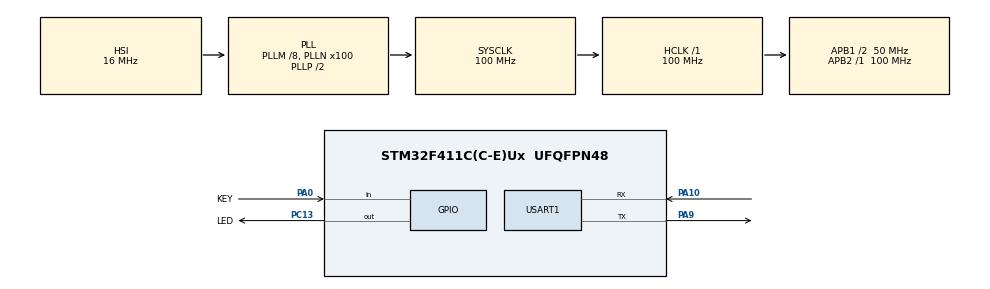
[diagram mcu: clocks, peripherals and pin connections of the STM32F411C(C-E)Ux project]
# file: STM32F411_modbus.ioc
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Dma.Request0=USART1_RX
Dma.Request1=USART1_TX
Dma.USART1_RX.0.Direction=DMA_PERIPH_TO_MEMORY
Dma.USART1_RX.0.FIFOMode=DMA_FIFOMODE_DISABLE
Dma.USART1_RX.0.Instance=DMA2_Stream2
Dma.USART1_RX.0.MemDataAlignment=DMA_MDATAALIGN_BYTE
Dma.USART1_RX.0.MemInc=DMA_MINC_ENABLE
Dma.USART1_RX.0.Mode=DMA_CIRCULAR
Dma.USART1_RX.0.PeriphDataAlignment=DMA_PDATAALIGN_BYTE
Dma.USART1_RX.0.PeriphInc=DMA_PINC_DISABLE
Dma.USART1_RX.0.Priority=DMA_PRIORITY_LOW
Dma.USART1_TX.1.Direction=DMA_MEMORY_TO_PERIPH
Dma.USART1_TX.1.FIFOMode=DMA_FIFOMODE_DISABLE
Dma.USART1_TX.1.Instance=DMA2_Stream7
Dma.USART1_TX.1.MemDataAlignment=DMA_MDATAALIGN_BYTE
Dma.USART1_TX.1.MemInc=DMA_MINC_ENABLE
Dma.USART1_TX.1.Mode=DMA_NORMAL
Dma.USART1_TX.1.PeriphDataAlignment=DMA_PDATAALIGN_BYTE
Dma.USART1_TX.1.PeriphInc=DMA_PINC_DISABLE
Dma.USART1_TX.1.Priority=DMA_PRIORITY_LOW
Mcu.Family=STM32F4
Mcu.Name=STM32F411C(C-E)Ux
Mcu.Package=UFQFPN48
NVIC.DMA2_Stream2_IRQn=true\:0\:0\:false\:false\:true\:false\:true\:true
NVIC.DMA2_Stream7_IRQn=true\:0\:0\:false\:false\:true\:false\:true\:true
NVIC.PriorityGroup=NVIC_PRIORITYGROUP_4
NVIC.USART1_IRQn=true\:0\:0\:false\:false\:true\:false\:true\:true
PA0-WKUP.GPIO_Label=KEY
PA0-WKUP.GPIO_PuPd=GPIO_PULLUP
PA0-WKUP.Signal=GPIO_Input
PA10.Mode=Asynchronous
PA10.Signal=USART1_RX
PA13.Mode=Serial_Wire
PA13.Signal=SYS_JTMS-SWDIO
PA14.Mode=Serial_Wire
PA14.Signal=SYS_JTCK-SWCLK
PA9.Mode=Asynchronous
PA9.Signal=USART1_TX
PC13-ANTI_TAMP.GPIO_Label=LED
PC13-ANTI_TAMP.PinState=GPIO_PIN_SET
PC13-ANTI_TAMP.Signal=GPIO_Output
PH0\ -\ OSC_IN.Mode=HSE-External-Oscillator
PH0\ -\ OSC_IN.Signal=RCC_OSC_IN
PH1\ -\ OSC_OUT.Mode=HSE-External-Oscillator
PH1\ -\ OSC_OUT.Signal=RCC_OSC_OUT
ProjectManager.HeapSize=0x200
ProjectManager.StackSize=0x400
ProjectManager.TargetToolchain=CMake
RCC.48MHZClocksFreq_Value=50000000
RCC.AHBFreq_Value=100000000
RCC.APB1CLKDivider=RCC_HCLK_DIV2
RCC.APB1Freq_Value=50000000
RCC.APB1TimFreq_Value=100000000
RCC.APB2Freq_Value=100000000
RCC.APB2TimFreq_Value=100000000
RCC.CortexFreq_Value=100000000
RCC.HCLKFreq_Value=100000000
RCC.HSE_VALUE=25000000
RCC.HSI_VALUE=16000000
RCC.LSE_VALUE=32768
RCC.PLLM=8
RCC.PLLN=100
RCC.SYSCLKFreq_VALUE=100000000
RCC.SYSCLKSource=RCC_SYSCLKSOURCE_PLLCLK
RCC.VCOOutputFreq_Value=200000000
USART1.VirtualMode=VM_ASYNC
board=custom

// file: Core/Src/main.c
/* USER CODE BEGIN Header */
/**
  ******************************************************************************
  * @file           : main.c
  * @brief          : Main program body
  ******************************************************************************
  * @attention
  *
  * Copyright (c) 2026 STMicroelectronics.
  * All rights reserved.
  *
  * This software is licensed under terms that can be found in the LICENSE file
  * in the root directory of this software component.
  * If no LICENSE file comes with this software, it is provided AS-IS.
  *
  ******************************************************************************
  */
/* USER CODE END Header */
#include "main.h"
#include "dma.h"
#include "usart.h"
#include "gpio.h"

/* USER CODE BEGIN Includes */
#include "uart_dma.h"
#include "modbus_slave.h"
#include "board.h"
#include "string.h"
/* USER CODE END Includes */

/* USER CODE BEGIN PV */
/* 主循环侧的帧缓冲：ISR 收到一整帧后 memcpy 到这里，主循环慢慢解析 */
static uint8_t rx_frame[UD_FRAME_MAX];
/* USER CODE END PV */

void SystemClock_Config(void);

int main(void)
{

  /* MCU Configuration--------------------------------------------------------*/

  /* Reset of all peripherals, Initializes the Flash interface and the Systick. */
  HAL_Init();

  /* Configure the system clock */
  SystemClock_Config();

  /* Initialize all configured peripherals */
  MX_GPIO_Init();
  MX_DMA_Init();
  MX_USART1_UART_Init();
  /* USER CODE BEGIN 2 */
  /* ── 业务初始化（CubeMX 之外的手写层）──────────────────────────────
   * 顺序有讲究：
   *  1) board_init 先起时基与心跳口 —— 后面任何一步挂了，心跳仍在跑，
   *     面板上能看到"板子活着但没起来"，而不是一片静默；
   *  2) 开机横幅走 USART1（此刻还没开 DMA 接收，阻塞发送不会抢帧）；
   *  3) ud_init 把 DMA 切成 CIRCULAR、启动 HT/TC 中断并开 IDLE；
   *  4) 最后才初始化寄存器表 —— 它的诊断字段直接读 ud_stats()。
   */
  board_init();
  {
    static const char banner[] =
        "[boot] STM32F411 Modbus RTU slave unit=1 115200 8N1 "
        "rx=DMA2_S2/circ+ht-tc tx=DMA2_S7/pingpong\r\n";
    (void)HAL_UART_Transmit(&huart1, (uint8_t *)banner,
                            (uint16_t)(sizeof(banner) - 1u), 100);
  }
  if (ud_init() != 0) {
    Error_Handler();
  }
  mb_slave_init();
  /* USER CODE END 2 */

  /* Infinite loop */
  /* USER CODE BEGIN WHILE */
  while (1)
  {
    /* 主循环只做三件事：判静默 → 取帧 → 处理；其余全在 ISR/DMA 里。
     * ★ 没有 HAL_Delay：帧到了就处理，没帧就转一圈走人。 */
    uint16_t n;
    ud_poll();                       /* 静默够久 → 收帧（非阻塞） */
    n = ud_frame_get(rx_frame, (uint16_t)sizeof(rx_frame));
    if (n > 0u) {
      mb_slave_handle(rx_frame, n);
    }
    mb_slave_poll();                 /* 连发状态机（TX 双缓冲演示，通常空转） */
    board_poll();
    /* USER CODE END WHILE */

  }
}

void SystemClock_Config(void)
{
  RCC_OscInitTypeDef RCC_OscInitStruct = {0};
  RCC_ClkInitTypeDef RCC_ClkInitStruct = {0};

  /** Configure the main internal regulator output voltage
  */
  __HAL_RCC_PWR_CLK_ENABLE();
  __HAL_PWR_VOLTAGESCALING_CONFIG(PWR_REGULATOR_VOLTAGE_SCALE1);

  /** Initializes the RCC Oscillators according to the specified parameters
  * in the RCC_OscInitTypeDef structure.
  */
  RCC_OscInitStruct.OscillatorType = RCC_OSCILLATORTYPE_HSI;
  RCC_OscInitStruct.HSIState = RCC_HSI_ON;
  RCC_OscInitStruct.HSICalibrationValue = RCC_HSICALIBRATION_DEFAULT;
  RCC_OscInitStruct.PLL.PLLState = RCC_PLL_ON;
  RCC_OscInitStruct.PLL.PLLSource = RCC_PLLSOURCE_HSI;
  RCC_OscInitStruct.PLL.PLLM = 8;
  RCC_OscInitStruct.PLL.PLLN = 100;
  RCC_OscInitStruct.PLL.PLLP = RCC_PLLP_DIV2;
  RCC_OscInitStruct.PLL.PLLQ = 4;
  if (HAL_RCC_OscConfig(&RCC_OscInitStruct) != HAL_OK)
  {
    Error_Handler();
  }

  /** Initializes the CPU, AHB and APB buses clocks
  */
  RCC_ClkInitStruct.ClockType = RCC_CLOCKTYPE_HCLK|RCC_CLOCKTYPE_SYSCLK
                              |RCC_CLOCKTYPE_PCLK1|RCC_CLOCKTYPE_PCLK2;
  RCC_ClkInitStruct.SYSCLKSource = RCC_SYSCLKSOURCE_PLLCLK;
  RCC_ClkInitStruct.AHBCLKDivider = RCC_SYSCLK_DIV1;
  RCC_ClkInitStruct.APB1CLKDivider = RCC_HCLK_DIV2;
  RCC_ClkInitStruct.APB2CLKDivider = RCC_HCLK_DIV1;

  if (HAL_RCC_ClockConfig(&RCC_ClkInitStruct, FLASH_LATENCY_3) != HAL_OK)
  {
    Error_Handler();
  }
}

/* USER CODE BEGIN 4 */
/**
  * @brief 串口发送完成回调（TX 双缓冲的"接力点"）
  *
  * USART1：一帧发完 → 若另一块已经填好，立刻启动它（乒乓切换）。
  * USART2：心跳行发完 → 释放忙标志，允许下一行。
  */
void HAL_UART_TxCpltCallback(UART_HandleTypeDef *huart)
{
  if (huart->Instance == USART1) {
    ud_on_tx_complete();
  } else if (huart->Instance == USART2) {
    board_on_uart_tx_complete();
  }
}
/* USER CODE END 4 */

void Error_Handler(void)
{
  __disable_irq();
  while (1)
  {
  }
}
